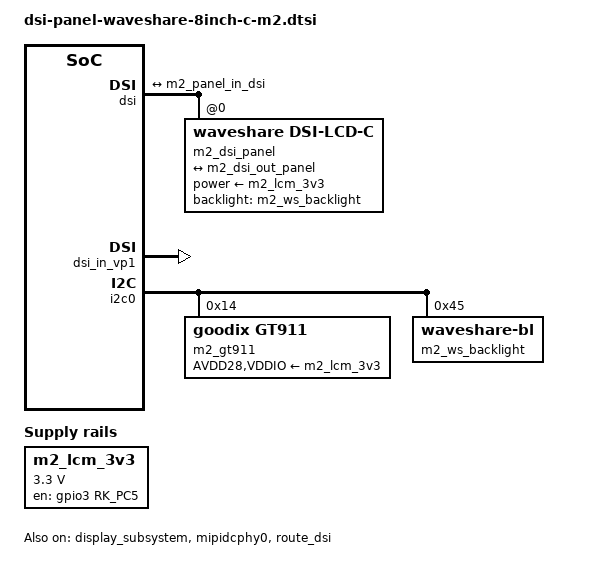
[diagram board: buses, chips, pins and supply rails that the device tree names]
// SPDX-License-Identifier: (GPL-2.0+ OR MIT)
/*
 * Quectel PI M2 RK3576 使用的微雪 8 寸 DSI LCD (C) 屏幕配置。
 *
 * 当前使用的 M2 LCM 连接器映射：
 * - LCM_PEN_1V8：GPIO3_C5，输出高电平打开 LCM 连接器 3.3V 电源。
 * - TP_RST_3V3/TP_INT_3V3/TP_I2C0_SCL/TP_I2C0_SDA 连接到触摸 IC；
 *   TP_RST/TP_INT 通过 U1203 电平转换到 LCM 连接器 3.3V 侧。
 * - waveshare-bl@45 仍使用连接器 I2C 通路控制背光。
 * - DSI_TX_D0..D3 和 DSI_TX_CLK 由 DSI 控制器/PHY 处理。
 */

/ {
	m2_lcm_3v3: m2-lcm-3v3 {
		compatible = "regulator-fixed";
		regulator-name = "m2_lcm_3v3";
		regulator-min-microvolt = <3300000>;
		regulator-max-microvolt = <3300000>;
		regulator-boot-on;
		enable-active-high;
		gpio = <&gpio3 RK_PC5 GPIO_ACTIVE_HIGH>;
		pinctrl-names = "default";
		pinctrl-0 = <&m2_lcm_pen_gpio>;
	};
};

&display_subsystem {
	status = "okay";
	memory-region = <&drm_logo>, <&drm_cubic_lut>;
	memory-region-names = "drm-logo", "drm-cubic-lut";
};

&dsi {
	status = "okay";

	m2_dsi_panel: panel@0 {
		status = "okay";
		compatible = "waveshare,dsi-lcd-c";
		reg = <0>;
		power-supply = <&m2_lcm_3v3>;
		backlight = <&m2_ws_backlight>;

		/* TP I2C 设备保留在 i2c0 下，RST/INT GPIO 映射待 M2 资料确认。 */
		init-delay-ms = <120>;
		prepare-delay-ms = <20>;
		enable-delay-ms = <20>;
		disable-delay-ms = <20>;
		unprepare-delay-ms = <80>;

		width-mm = <172>;
		height-mm = <108>;
		bpc = <8>;
		dsi,flags = <(MIPI_DSI_MODE_VIDEO | MIPI_DSI_MODE_VIDEO_BURST |
			      MIPI_DSI_MODE_LPM | MIPI_DSI_MODE_NO_EOT_PACKET)>;
		dsi,format = <MIPI_DSI_FMT_RGB888>;
		/*
		 * 保持和已验证的 SMARC 微雪 8 寸 LCD-C 配置一致。
		 * M2 连接器引出了 4 路 DSI 数据线，但当前屏幕配置使用 2 lane。
		 */
		dsi,lanes = <2>;

		display-timings {
			native-mode = <&m2_waveshare_8inch_c_timing>;

			m2_waveshare_8inch_c_timing: timing0 {
				clock-frequency = <83333000>;
				hactive = <1280>;
				vactive = <800>;
				hfront-porch = <156>;
				hsync-len = <20>;
				hback-porch = <40>;
				vfront-porch = <40>;
				vsync-len = <48>;
				vback-porch = <40>;
				hsync-active = <0>;
				vsync-active = <0>;
				de-active = <0>;
				pixelclk-active = <0>;
			};
		};

		ports {
			#address-cells = <1>;
			#size-cells = <0>;

			port@1 {
				reg = <1>;

				m2_panel_in_dsi: endpoint {
					remote-endpoint = <&m2_dsi_out_panel>;
				};
			};
		};
	};

	ports {
		#address-cells = <1>;
		#size-cells = <0>;

		port@1 {
			reg = <1>;

			m2_dsi_out_panel: endpoint {
				remote-endpoint = <&m2_panel_in_dsi>;
			};
		};
	};
};

&mipidcphy0 {
	status = "okay";
};

&route_dsi {
	status = "okay";
	logo,uboot = "quectel_720p.bmp";
	logo,kernel = "quectel_720p_kernel.bmp";
};

&dsi_in_vp0 {
	status = "disabled";
};

&dsi_in_vp1 {
	status = "okay";
};

&dsi_in_vp2 {
	status = "disabled";
};

&dsi_in_vopl {
	status = "disabled";
};

&i2c0 {
	/* M2 LCM 连接器触摸 I2C 通道，对应 TP_I2C0_SCL/TP_I2C0_SDA。 */
	pinctrl-0 = <&i2c0m1_xfer>;
	status = "okay";

	m2_gt911: gt911@14 {
		/*
		 * 参考 H1 微雪 8 寸屏触摸配置，仅通过 0x14 I2C 设备绑定
		 * Goodix GT911；不配置 interrupts/irq-gpios/reset-gpios。
		 * 当前 Goodix 驱动在无 IRQ 时会走 I2C 定时轮询路径。
		 */
		status = "okay";
		compatible = "goodix,gt911";
		reg = <0x14>;
		AVDD28-supply = <&m2_lcm_3v3>;
		VDDIO-supply = <&m2_lcm_3v3>;
		touchscreen-size-x = <800>;
		touchscreen-size-y = <1280>;
		touchscreen-inverted-x;
		touchscreen-swapped-x-y;
	};

	m2_ws_backlight: waveshare-bl@45 {
		status = "okay";
		compatible = "waveshare-bl";
		reg = <0x45>;
		default-brightness-level = <200>;
		max-brightness-level = <255>;
		min-brightness-level = <15>;
	};
};

&pinctrl {
	lcd-m2 {
		m2_lcm_pen_gpio: m2-lcm-pen-gpio {
			/* LCM_PEN_1V8，对应连接器 235 脚，GPIO3_C5_d。 */
			rockchip,pins = <3 RK_PC5 RK_FUNC_GPIO &pcfg_pull_down>;
		};
	};
};
